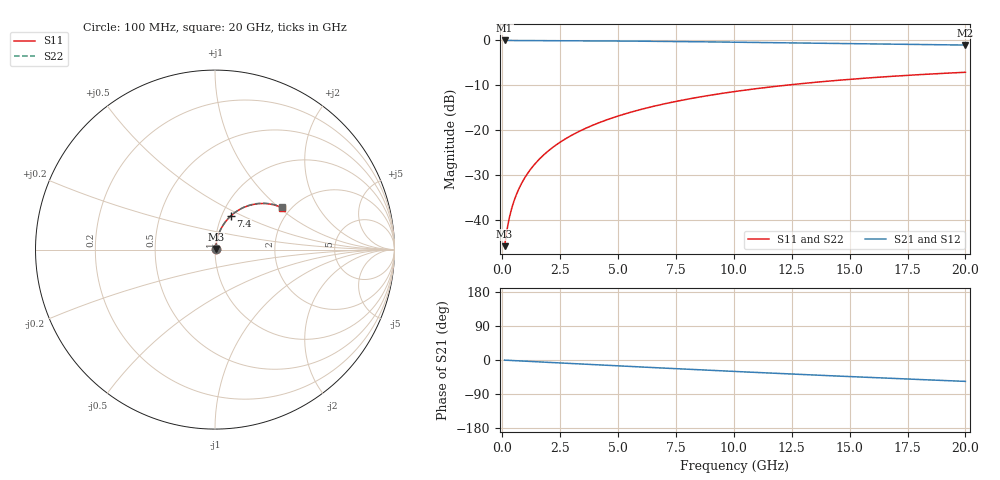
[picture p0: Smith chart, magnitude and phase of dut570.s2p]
! Touchstone file exported from HFSS 2026.1.0
!  File:  C:/ffzhzh/LocalFiles/Ansys_Project_Files/temp_train_TMRDL_570_1783008030_4048.aedt
!  Generated:  12:02:14 AM Jul  3, 2026
!  Design:  TMRDL
!  Project:  temp_train_TMRDL_570_1783008030_4048
! Variables:
!  h_bsmrdl = 2um
!  h_ox = 20um
!  h_rdl = 5um
!  h_sub = 80um
!  h_tmrdl = 3.16um
!  h_tsv = 80um
!  h_via = 3um
!  l_bsmrdl = 300um
!  l_sub = 1283.71um
!  l_tmrdl = 883.71um
!  m_sub = 200um
!  pitch = 53.34um
!  r_tsv = 6um
!  s_tmrdl = 10um
!  w_bsmrdl = 18um
!  w_sub = 500um
!  w_tmrdl = 27.18um
!  x_tsv_center1 = 897.3um
!  x_tsv_center2 = 1215.3um
!  x_tsv_center3 = 2126.19um
!  x_tsv_center4 = 2444.19um
!  x_tsv_center5 = 3355.08um
!  x_tsv_center6 = 3673.08um
# GHz S MA R 50.000000
! Terminal data exported
! Port[1] = TM_RDL1_1_T1
! Port[2] = TM_RDL1_1_T2
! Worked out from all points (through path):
!   200 points, 100 MHz to 20 GHz, reference 50 ohm
!   highest |S21| = -0.03 dB at 100 MHz (marker M1); lowest = -1.1 dB at 20 GHz (marker M2)
!   group delay of S21, straight-line fit = 7.84 ps
!   lowest |S11| = -45.8 dB at 100 MHz (marker M3), VSWR 1.01, Z = 50.4 + j0.332 ohm
!   |S11| at or under -10 dB: start of sweep to 12.25 GHz
!   |S22| runs from -45.8 to -7.1 dB; largest |S21 - S12| = 3.7e-15
!   S11 on the Smith chart (normalised r, x): 100 MHz: 1.01, +0.01; 7.4 GHz: 1.10, +0.43; 20 GHz: 1.81, +1.04
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0.1  0.005114 40.1  0.9961 -0.3  0.9961 -0.3  0.005114 40.1
! Gamma 0 0 0 0
! Port Impedance 50 0 50 0
0.2  0.007705 56.9  0.9959 -0.7  0.9959 -0.7  0.007705 56.9
0.3  0.0105 64.4  0.9956 -1.0  0.9956 -1.0  0.0105 64.4
0.4  0.01331 68.5  0.9953 -1.3  0.9953 -1.3  0.01331 68.5
0.5  0.01612 71.3  0.9951 -1.6  0.9951 -1.6  0.01612 71.3
0.6  0.01894 73.2  0.995 -1.9  0.995 -1.9  0.01894 73.2
0.8  0.02461 75.7  0.9947 -2.5  0.9947 -2.5  0.02461 75.7
1.1  0.03319 77.5  0.9943 -3.5  0.9943 -3.5  0.03319 77.6
1.3  0.03895 78.1  0.994 -4.1  0.994 -4.1  0.03895 78.2
1.6  0.04761 78.5  0.9935 -5.0  0.9935 -5.0  0.04761 78.5
2.1  0.06204 78.3  0.9925 -6.6  0.9925 -6.6  0.06204 78.3
2.7  0.07929 77.3  0.991 -8.4  0.991 -8.4  0.07928 77.4
3.5  0.102 75.6  0.9886 -10.9  0.9886 -10.9  0.102 75.7
4.2  0.1216 73.8  0.986 -13.0  0.986 -13.0  0.1216 73.9
5  0.1436 71.6  0.9825 -15.5  0.9825 -15.5  0.1436 71.8
6.8  0.1912 66.6  0.9733 -20.8  0.9733 -20.8  0.1911 66.8
7.4  0.2064 64.9  0.9698 -22.6  0.9698 -22.6  0.2063 65.1
8.7  0.2382 61.3  0.9619 -26.4  0.9619 -26.4  0.2381 61.5
10.1  0.2705 57.4  0.9526 -30.4  0.9526 -30.4  0.2705 57.6
13.4  0.3387 48.5  0.9296 -39.5  0.9296 -39.5  0.3386 48.8
16.7  0.3954 40.0  0.9065 -48.1  0.9065 -48.1  0.3953 40.4
20  0.4408 31.9  0.8853 -56.4  0.8853 -56.4  0.4407 32.3
